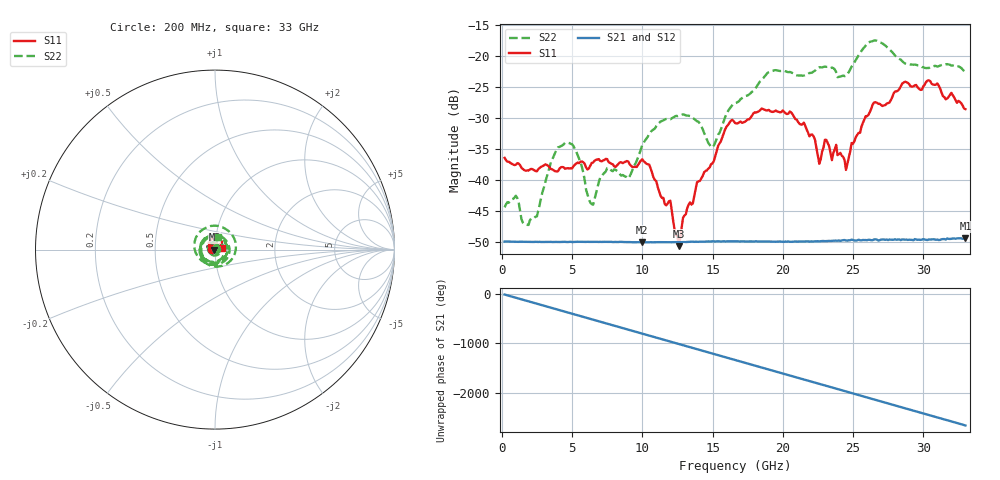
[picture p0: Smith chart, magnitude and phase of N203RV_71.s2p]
# GHZ S RI R 50
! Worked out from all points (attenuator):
!   329 points, 200 MHz to 33 GHz, reference 50 ohm
!   highest |S21| = -49.43 dB at 33 GHz (marker M1); lowest = -50.1 dB at 10 GHz (marker M2)
!   lowest |S11| = -50.7 dB at 12.6 GHz (marker M3), VSWR 1.01, Z = 49.7 + j0.0382 ohm
!   |S11| at or under -10 dB: start of sweep to end of sweep
!   |S22| runs from -47.3 to -17.5 dB; largest |S21 - S12| = 7.2e-05
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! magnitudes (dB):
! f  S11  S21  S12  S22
! 200 MHz  -36.5  -50.0  -50.0  -44.5
! 2.5 GHz  -38.6  -50.0  -50.0  -45.9
! 4.5 GHz  -38.2  -50.0  -50.0  -34.0
! 5.7 GHz  -37.0  -50.0  -50.0  -37.9
! 6.5 GHz  -37.2  -50.0  -50.0  -44.0
! 7.5 GHz  -36.7  -50.0  -50.0  -38.1
! 9 GHz  -37.0  -50.1  -50.0  -39.8
! 10 GHz  -36.7  -50.1  -50.1  -34.4
! 11.2 GHz  -41.9  -50.1  -50.1  -30.8
! 12 GHz  -43.4  -50.1  -50.1  -30.2
! 12.6 GHz  -50.7  -50.1  -50.0  -29.7
! 15 GHz  -37.3  -49.9  -49.9  -34.8
! 16.6 GHz  -30.8  -49.9  -49.9  -27.7
! 20 GHz  -28.8  -50.0  -50.0  -22.3
! 22.1 GHz  -32.7  -50.0  -49.9  -22.7
! 22.6 GHz  -37.4  -50.0  -49.9  -21.8
! 23.1 GHz  -33.6  -49.9  -49.9  -21.7
! 24.5 GHz  -38.4  -49.8  -49.8  -23.2
! 26.4 GHz  -27.8  -49.8  -49.7  -17.6
! 27.6 GHz  -27.5  -49.6  -49.7  -18.9
! 30.4 GHz  -23.9  -49.6  -49.7  -21.9
! 33 GHz  -28.6  -49.4  -49.4  -22.6
